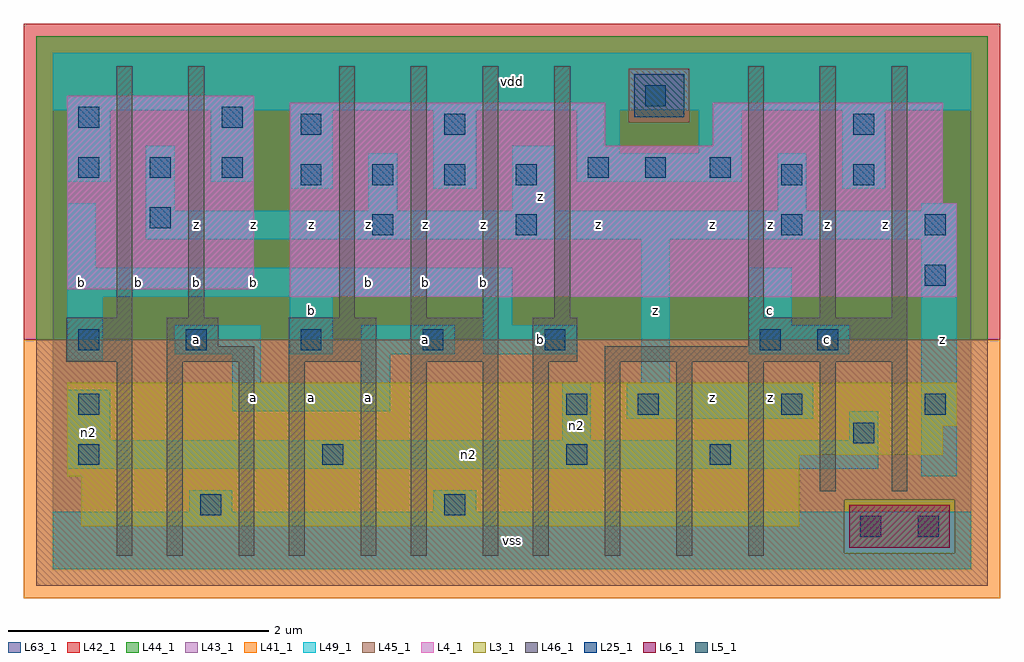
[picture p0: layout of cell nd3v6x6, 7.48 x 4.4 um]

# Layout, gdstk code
import gdstk
lib = gdstk.Library(unit=1e-6, precision=1e-09)
def R(c, l, rs):  # rectangles x0, y0, x1, y1
    for r in rs: c.add(gdstk.rectangle(r[:2], r[2:], *l))
def A(c, l, x, y, w, h, nx, ny, dx, dy):  # array of equal rectangles
    R(c, l, [(x+i*dx, y+j*dy, x+i*dx+w, y+j*dy+h) for i in range(nx) for j in range(ny)])
L3_1 = (3, 1)
L4_1 = (4, 1)
L5_1 = (5, 1)
L6_1 = (6, 1)
L25_1 = (25, 1)
L41_1 = (41, 1)
L42_1 = (42, 1)
L43_1 = (43, 1)
L44_1 = (44, 1)
L45_1 = (45, 1)
L46_1 = (46, 1)
L49_1 = (49, 1)
L63_1 = (63, 1)

nd3v6x6 = lib.new_cell('nd3v6x6')
R(nd3v6x6, L3_1, [(0.22,0.33,5.72,0.715), (0.11,0.715,5.72,0.88), (0.11,0.88,6.82,1.1), (0.11,1.1,6.93,1.43)])
R(nd3v6x6, L4_1, [(1.815,2.09,6.93,2.805), (0.11,2.145,1.54,3.63), (1.815,2.805,6.82,3.245), (1.815,3.245,4.235,3.575), (5.06,3.245,6.82,3.575)])
R(nd3v6x6, L5_1, [(4.455,3.465,4.84,3.795)])
R(nd3v6x6, L6_1, [(6.105,0.165,6.875,0.495)])
A(nd3v6x6, L25_1, 0.195, 0.8, 0.16, 0.16, 3, 1, 1.87, 0)
A(nd3v6x6, L25_1, 4.485, 1.185, 0.16, 0.16, 3, 1, 1.1, 0)
A(nd3v6x6, L25_1, 1.9, 1.68, 0.16, 0.16, 3, 1, 0.935, 0)
A(nd3v6x6, L25_1, 1.9, 2.945, 0.16, 0.16, 4, 1, 0.55, 0)
A(nd3v6x6, L25_1, 0.195, 3, 0.16, 0.16, 3, 1, 0.55, 0)
R(nd3v6x6, L25_1, [(6.19,0.25,6.35,0.41), (6.63,0.25,6.79,0.41), (1.13,0.415,1.29,0.575), (3,0.415,3.16,0.575), (5.035,0.8,5.195,0.96), (6.135,0.965,6.295,1.125), (0.195,1.185,0.355,1.345), (3.935,1.185,4.095,1.345), (0.195,1.68,0.355,1.84), (1.02,1.68,1.18,1.84), (5.42,1.68,5.58,1.84), (5.86,1.68,6.02,1.84), (6.685,2.175,6.845,2.335), (2.45,2.56,2.61,2.72), (3.55,2.56,3.71,2.72), (5.585,2.56,5.745,2.72), (6.685,2.56,6.845,2.72), (0.745,2.615,0.905,2.775), (5.585,2.945,5.745,3.105), (6.135,2.945,6.295,3.105), (4.1,3,4.26,3.16), (4.54,3,4.7,3.16), (5.035,3,5.195,3.16), (1.9,3.33,2.06,3.49), (3,3.33,3.16,3.49), (6.135,3.33,6.295,3.49), (0.195,3.385,0.355,3.545), (1.295,3.385,1.455,3.545), (4.54,3.55,4.7,3.71)])
R(nd3v6x6, L41_1, [(-0.22,-0.22,7.26,1.76)])
R(nd3v6x6, L42_1, [(-0.22,1.76,7.26,4.18)])
R(nd3v6x6, L43_1, [(6.105,0.165,6.875,0.495), (0.22,0.33,5.72,0.715), (0.11,0.715,5.72,0.88), (0.11,0.88,6.82,1.1), (0.11,1.1,6.93,1.43), (1.815,2.09,6.93,2.805), (0.11,2.145,1.54,3.63), (1.815,2.805,6.82,3.245), (1.815,3.245,4.235,3.575), (5.06,3.245,6.82,3.575), (4.455,3.465,4.84,3.795)])
R(nd3v6x6, L44_1, [(6.065,0.125,6.915,0.535), (-0.125,1.76,7.165,3.425), (-0.125,3.425,4.415,3.835), (4.88,3.425,7.165,3.835), (-0.125,3.835,7.165,4.085)])
R(nd3v6x6, L45_1, [(-0.125,-0.125,7.165,0.125), (-0.125,0.125,6.065,0.535), (6.915,0.125,7.165,0.535), (-0.125,0.535,7.165,1.76), (4.415,3.425,4.88,3.835)])
A(nd3v6x6, L46_1, 3.68, 0.105, 0.12, 1.485, 4, 1, 0.55, 0)
A(nd3v6x6, L46_1, 2.195, 1.93, 0.12, 1.925, 4, 1, 0.55, 0)
A(nd3v6x6, L46_1, 5.33, 1.93, 0.12, 1.925, 3, 1, 0.55, 0)
R(nd3v6x6, L46_1, [(0.49,0.105,0.61,1.59), (0.875,0.105,0.995,1.59), (1.425,0.105,1.545,1.59), (1.81,0.105,1.93,1.59), (2.36,0.105,2.48,1.59), (2.745,0.105,2.865,1.59), (3.295,0.105,3.415,1.59), (5.88,0.6,6,1.59), (6.43,0.6,6.55,1.59), (0.105,1.59,0.61,1.93), (0.875,1.59,1.545,1.71), (1.81,1.59,2.48,1.93), (2.745,1.59,3.415,1.93), (3.68,1.59,4.02,1.93), (4.23,1.59,6.55,1.71), (0.875,1.71,1.27,1.93), (5.33,1.71,6.55,1.93), (0.49,1.93,0.61,3.855), (1.04,1.93,1.16,3.855)])
R(nd3v6x6, L49_1, [(0,0,7.04,0.44), (1.045,0.44,1.375,0.605), (2.915,0.44,3.245,0.605), (6.655,0.715,6.93,2.53), (0.11,0.77,6.325,0.99), (0.11,0.99,0.44,1.375), (3.905,0.99,4.125,1.43), (6.105,0.99,6.325,1.21), (4.4,1.155,5.83,1.43), (1.375,1.21,2.585,1.43), (1.375,1.43,1.595,1.65), (2.365,1.43,2.585,1.65), (4.51,1.43,4.73,2.53), (0.11,1.595,0.385,2.09), (0.935,1.65,1.595,1.87), (1.815,1.65,2.145,2.09), (2.365,1.65,3.08,1.87), (3.3,1.65,4.015,1.87), (5.335,1.65,6.105,1.87), (3.3,1.87,3.52,2.09), (5.335,1.87,5.665,2.31), (0.11,2.09,3.52,2.31), (0.11,2.31,0.33,2.805), (0.715,2.53,6.93,2.75), (0.715,2.75,0.935,3.245), (2.42,2.75,2.64,3.19), (3.52,2.75,3.85,3.245), (5.555,2.75,5.775,3.19), (6.655,2.75,6.93,2.805), (1.815,2.915,2.145,3.52), (2.915,2.915,3.245,3.52), (6.05,2.915,6.38,3.52), (0.11,2.97,0.44,3.52), (1.21,2.97,1.54,3.52), (4.015,2.97,5.28,3.19), (4.015,3.19,4.345,3.52), (4.95,3.19,5.28,3.52), (0,3.52,7.04,3.96)])
R(nd3v6x6, L63_1, [(0,0,7.04,3.96)])
nd3v6x6.add(gdstk.Label('n2', (0.275,1.045), layer=49, texttype=1))
nd3v6x6.add(gdstk.Label('a', (1.1,1.76), layer=49, texttype=1))
nd3v6x6.add(gdstk.Label('b', (0.22,2.2), layer=49, texttype=1))
nd3v6x6.add(gdstk.Label('b', (0.66,2.2), layer=49, texttype=1))
nd3v6x6.add(gdstk.Label('b', (1.1,2.2), layer=49, texttype=1))
nd3v6x6.add(gdstk.Label('z', (1.1,2.64), layer=49, texttype=1))
nd3v6x6.add(gdstk.Label('a', (2.42,1.32), layer=49, texttype=1))
nd3v6x6.add(gdstk.Label('a', (1.98,1.32), layer=49, texttype=1))
nd3v6x6.add(gdstk.Label('a', (1.54,1.32), layer=49, texttype=1))
nd3v6x6.add(gdstk.Label('b', (1.54,2.2), layer=49, texttype=1))
nd3v6x6.add(gdstk.Label('b', (2.42,2.2), layer=49, texttype=1))
nd3v6x6.add(gdstk.Label('b', (1.98,1.98), layer=49, texttype=1))
nd3v6x6.add(gdstk.Label('z', (1.98,2.64), layer=49, texttype=1))
nd3v6x6.add(gdstk.Label('z', (2.42,2.64), layer=49, texttype=1))
nd3v6x6.add(gdstk.Label('z', (1.54,2.64), layer=49, texttype=1))
nd3v6x6.add(gdstk.Label('vss', (3.52,0.22), layer=49, texttype=1))
nd3v6x6.add(gdstk.Label('n2', (4.015,1.1), layer=49, texttype=1))
nd3v6x6.add(gdstk.Label('b', (3.74,1.76), layer=49, texttype=1))
nd3v6x6.add(gdstk.Label('a', (2.86,1.76), layer=49, texttype=1))
nd3v6x6.add(gdstk.Label('b', (2.86,2.2), layer=49, texttype=1))
nd3v6x6.add(gdstk.Label('b', (3.3,2.2), layer=49, texttype=1))
nd3v6x6.add(gdstk.Label('z', (2.86,2.64), layer=49, texttype=1))
nd3v6x6.add(gdstk.Label('z', (3.74,2.86), layer=49, texttype=1))
nd3v6x6.add(gdstk.Label('z', (3.3,2.64), layer=49, texttype=1))
nd3v6x6.add(gdstk.Label('vdd', (3.52,3.74), layer=49, texttype=1))
nd3v6x6.add(gdstk.Label('z', (5.5,1.32), layer=49, texttype=1))
nd3v6x6.add(gdstk.Label('z', (5.06,1.32), layer=49, texttype=1))
nd3v6x6.add(gdstk.Label('z', (4.62,1.98), layer=49, texttype=1))
nd3v6x6.add(gdstk.Label('c', (5.5,1.98), layer=49, texttype=1))
nd3v6x6.add(gdstk.Label('z', (4.18,2.64), layer=49, texttype=1))
nd3v6x6.add(gdstk.Label('z', (5.5,2.64), layer=49, texttype=1))
nd3v6x6.add(gdstk.Label('z', (5.06,2.64), layer=49, texttype=1))
nd3v6x6.add(gdstk.Label('n2', (3.19,0.88), layer=49, texttype=1))
nd3v6x6.add(gdstk.Label('c', (5.94,1.76), layer=49, texttype=1))
nd3v6x6.add(gdstk.Label('z', (6.82,1.76), layer=49, texttype=1))
nd3v6x6.add(gdstk.Label('z', (5.94,2.64), layer=49, texttype=1))
nd3v6x6.add(gdstk.Label('z', (6.38,2.64), layer=49, texttype=1))

lib.write_gds('nd3v6x6.gds')
